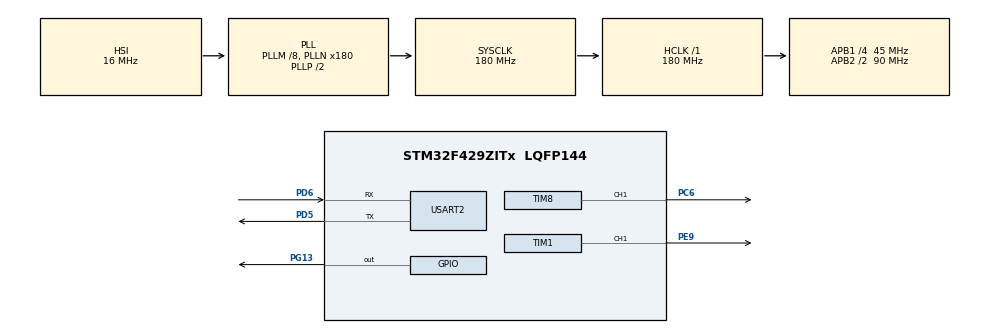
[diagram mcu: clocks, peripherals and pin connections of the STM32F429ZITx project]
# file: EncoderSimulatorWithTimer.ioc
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Dma.Request0=USART2_TX
Dma.Request1=USART2_RX
Dma.USART2_RX.1.Direction=DMA_PERIPH_TO_MEMORY
Dma.USART2_RX.1.FIFOMode=DMA_FIFOMODE_DISABLE
Dma.USART2_RX.1.Instance=DMA1_Stream5
Dma.USART2_RX.1.MemDataAlignment=DMA_MDATAALIGN_BYTE
Dma.USART2_RX.1.MemInc=DMA_MINC_ENABLE
Dma.USART2_RX.1.Mode=DMA_NORMAL
Dma.USART2_RX.1.PeriphDataAlignment=DMA_PDATAALIGN_BYTE
Dma.USART2_RX.1.PeriphInc=DMA_PINC_DISABLE
Dma.USART2_RX.1.Priority=DMA_PRIORITY_HIGH
Dma.USART2_TX.0.Direction=DMA_MEMORY_TO_PERIPH
Dma.USART2_TX.0.FIFOMode=DMA_FIFOMODE_DISABLE
Dma.USART2_TX.0.Instance=DMA1_Stream6
Dma.USART2_TX.0.MemDataAlignment=DMA_MDATAALIGN_BYTE
Dma.USART2_TX.0.MemInc=DMA_MINC_ENABLE
Dma.USART2_TX.0.Mode=DMA_NORMAL
Dma.USART2_TX.0.PeriphDataAlignment=DMA_PDATAALIGN_BYTE
Dma.USART2_TX.0.PeriphInc=DMA_PINC_DISABLE
Dma.USART2_TX.0.Priority=DMA_PRIORITY_HIGH
Mcu.Family=STM32F4
Mcu.Name=STM32F429ZITx
Mcu.Package=LQFP144
NVIC.DMA1_Stream5_IRQn=true\:0\:0\:false\:false\:true\:false\:true\:true
NVIC.DMA1_Stream6_IRQn=true\:0\:0\:false\:false\:true\:false\:true\:true
NVIC.PriorityGroup=NVIC_PRIORITYGROUP_0
NVIC.TIM1_UP_TIM10_IRQn=true\:0\:0\:false\:false\:true\:true\:true\:true
NVIC.TIM6_DAC_IRQn=true\:0\:0\:false\:false\:true\:true\:true\:true
NVIC.TIM8_UP_TIM13_IRQn=true\:0\:0\:false\:false\:true\:true\:true\:true
NVIC.USART2_IRQn=true\:0\:0\:false\:false\:true\:true\:true\:true
PC6.Signal=S_TIM8_CH1
PD5.Mode=Asynchronous
PD5.Signal=USART2_TX
PD6.Mode=Asynchronous
PD6.Signal=USART2_RX
PE9.Signal=S_TIM1_CH1
PG13.Signal=GPIO_Output
ProjectManager.HeapSize=0x200
ProjectManager.StackSize=0x400
ProjectManager.TargetToolchain=STM32CubeIDE
RCC.48MHZClocksFreq_Value=51428571.428571425
RCC.AHBFreq_Value=180000000
RCC.APB1CLKDivider=RCC_HCLK_DIV4
RCC.APB1Freq_Value=45000000
RCC.APB1TimFreq_Value=90000000
RCC.APB2CLKDivider=RCC_HCLK_DIV2
RCC.APB2Freq_Value=90000000
RCC.APB2TimFreq_Value=180000000
RCC.CortexFreq_Value=180000000
RCC.HCLKFreq_Value=180000000
RCC.HSE_VALUE=8000000
RCC.HSI_VALUE=16000000
RCC.LSE_VALUE=32768
RCC.PLLM=8
RCC.PLLN=180
RCC.PLLQ=7
RCC.SYSCLKFreq_VALUE=180000000
RCC.SYSCLKSource=RCC_SYSCLKSOURCE_PLLCLK
RCC.VCOOutputFreq_Value=360000000
SH.S_TIM1_CH1.0=TIM1_CH1,PWM Generation1 CH1
SH.S_TIM8_CH1.0=TIM8_CH1,PWM Generation1 CH1
TIM1.AutoReloadPreload=TIM_AUTORELOAD_PRELOAD_ENABLE
TIM1.Channel-PWM\ Generation1\ CH1=TIM_CHANNEL_1
TIM1.Period=999
TIM1.Prescaler=179
TIM1.Pulse-PWM\ Generation1\ CH1=500
TIM1.TIM_MasterOutputTrigger=TIM_TRGO_UPDATE
TIM1.TIM_MasterSlaveMode=TIM_MASTERSLAVEMODE_ENABLE
TIM6.AutoReloadPreload=TIM_AUTORELOAD_PRELOAD_DISABLE
TIM6.Period=999
TIM6.Prescaler=8999
TIM8.AutoReloadPreload=TIM_AUTORELOAD_PRELOAD_DISABLE
TIM8.Channel-PWM\ Generation1\ CH1=TIM_CHANNEL_1
TIM8.Period=999
TIM8.Prescaler=179
TIM8.Pulse-PWM\ Generation1\ CH1=500
TIM8.TIM_MasterOutputTrigger=TIM_TRGO_UPDATE
TIM8.TIM_MasterSlaveMode=TIM_MASTERSLAVEMODE_ENABLE
USART2.VirtualMode=VM_ASYNC
VP_TIM1_VS_ClockSourceINT.Mode=Internal
VP_TIM6_VS_ClockSourceINT.Mode=Enable_Timer
VP_TIM8_VS_ClockSourceINT.Mode=Internal
VP_TIM8_VS_ClockSourceITR.Mode=TriggerSource_ITR0
VP_TIM8_VS_ControllerModeTrigger.Mode=Trigger Mode
board=STM32F429I-DISC1

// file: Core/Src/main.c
/* USER CODE BEGIN Header */
/**
 ******************************************************************************
 * @file           : main.c
 * @brief          : Main program body
 ******************************************************************************
 * @attention
 *
 * Copyright (c) 2025 STMicroelectronics.
 * All rights reserved.
 *
 * This software is licensed under terms that can be found in the LICENSE file
 * in the root directory of this software component.
 * If no LICENSE file comes with this software, it is provided AS-IS.
 *
 ******************************************************************************
 */
/* USER CODE END Header */
#include "main.h"

/* USER CODE BEGIN Includes */
#include "uart_protocol.h"
#include "rx_processor.h"
#include "stdbool.h"
#include "transmit.h"
#include "math.h"
/* USER CODE END Includes */

/* USER CODE BEGIN PD */
#define ENCODER_PHASE_DIV 4
#define RX_BUFFER_SIZE    128
/* USER CODE END PD */

/* USER CODE BEGIN PM */
uint32_t counter = 0;
uint32_t lastCounter = 0;
uint8_t  rxBuffer[RX_BUFFER_SIZE];
uint8_t  resolution = 0;
int32_t  depth = 0;
int32_t  lastDepth = 0;
uint8_t  direction;
uint8_t  depthSendFlag = 1;
uint16_t speed;
uint8_t msg;
/* USER CODE END PM */

TIM_HandleTypeDef htim1;
TIM_HandleTypeDef htim6;
TIM_HandleTypeDef htim8;

UART_HandleTypeDef huart2;
DMA_HandleTypeDef hdma_usart2_tx;
DMA_HandleTypeDef hdma_usart2_rx;

void SystemClock_Config(void);
static void MX_GPIO_Init(void);
static void MX_DMA_Init(void);
static void MX_TIM1_Init(void);
static void MX_TIM8_Init(void);
static void MX_USART2_UART_Init(void);
static void MX_TIM6_Init(void);
/* USER CODE BEGIN PFP */

void calculateDepthValue()
{
	counter++;
	if(direction == encoderDirectionDown)
	{
		if(lastCounter > 0)
		{
			lastCounter --;
			depth = (int32_t)(((float)(lastCounter) / resolution) * 100);
			counter = 0;
		}
		else
			depth = (int32_t)(((float)(counter) / resolution) * -100);
	}
	else if(direction == encoderDirectionUp)
	{
		if(lastCounter > 0)
		{
			lastCounter --;
			depth = (int32_t)(((float)(lastCounter) / resolution) * -100);
			counter = 0;
		}
		else
			depth = (int32_t)(((float)(counter) / resolution) * 100);
	}
	else
		return;
}

void calculateSpeedValue()
{
	speed = (uint16_t)(fabsf(depth - lastDepth) * 10.0f); // ft/min  100ms = 10.0f ve min = 60.0f
	lastDepth = depth;
    sendEncoderDepth(depth, speed);
}

/* USER CODE END PFP */

/* USER CODE BEGIN 0 */
void HAL_TIM_PeriodElapsedCallback(TIM_HandleTypeDef *htim)
{
	if(htim->Instance == TIM1 || htim->Instance == TIM8)
		calculateDepthValue();

	else if(htim->Instance == TIM6)
		calculateSpeedValue();

}

void processPacket()
{
	if(resPackFlag.resEncoderConfigFlag)
	{
		resPackFlag.resEncoderConfigFlag = 0;
		if(encoderDirectionUp == Uart.ResPackEncoderConfig.direction)
		{
			if(direction != encoderDirectionUp)
			{
			__HAL_TIM_SET_COUNTER(&htim1, htim1.Instance->ARR - (htim1.Instance->ARR / ENCODER_PHASE_DIV ));
			__HAL_TIM_SET_COUNTER(&htim8, htim8.Instance->ARR);
			direction = encoderDirectionUp;
			lastCounter  = counter;
			counter = 0;
			}
		}
		else if(encoderDirectionDown == Uart.ResPackEncoderConfig.direction)
		{
			if(direction != encoderDirectionDown)
			{
			__HAL_TIM_SET_COUNTER(&htim8, htim8.Instance->ARR - (htim8.Instance->ARR / ENCODER_PHASE_DIV));
			__HAL_TIM_SET_COUNTER(&htim1, htim1.Instance->ARR);
			direction = encoderDirectionDown;
			lastCounter  = counter;
			counter = 0;
			}
		}
		else
			return;

		htim1.Instance->PSC =  Uart.ResPackEncoderConfig.encoderSpeed;
		htim8.Instance->PSC =  Uart.ResPackEncoderConfig.encoderSpeed;
		resolution = Uart.ResPackEncoderConfig.resolution;
		sendDebugMsg((uint8_t*)"Config saved");
	}

	if(resPackFlag.resEncoderStatusFlag)
	{
		resPackFlag.resEncoderStatusFlag = 0;
		if(Uart.ResPackEncoderStatus.encoderStatus == encoderStatusStart)
		{
			if(direction == encoderDirectionUp)
			{
				HAL_TIM_Base_Stop_IT(&htim1);
				HAL_TIM_Base_Start_IT(&htim8);
				sendDebugMsg((uint8_t*)"Encoder Up started");
			}
			else if(direction == encoderDirectionDown)
			{
				HAL_TIM_Base_Start_IT(&htim1);
				HAL_TIM_Base_Stop_IT(&htim8);
				sendDebugMsg((uint8_t*)"Encoder Down started");
			}
			else
				return;

			HAL_TIM_PWM_Start_IT(&htim1, TIM_CHANNEL_1);
			HAL_TIM_PWM_Start_IT(&htim8, TIM_CHANNEL_1);
			__HAL_TIM_SET_COUNTER(&htim6, 0);
		    HAL_TIM_Base_Start_IT(&htim6);
		}
		else if(Uart.ResPackEncoderStatus.encoderStatus == encoderStatusStop )
		{
			HAL_TIM_Base_Stop_IT(&htim1);
			HAL_TIM_PWM_Stop_IT(&htim1, TIM_CHANNEL_1);
			HAL_TIM_Base_Stop_IT(&htim8);
			HAL_TIM_PWM_Stop_IT(&htim8, TIM_CHANNEL_1);
		    HAL_TIM_Base_Stop_IT(&htim6);
		    sendEncoderDepth(depth, speed);
		    sendDebugMsg((uint8_t*)"Encoder stopped");
		}
		else
			return;
	}
	if(resPackFlag.resEncoderDepthFlag)
	{
		resPackFlag.resEncoderDepthFlag = 0;
		depth = Uart.ResPackEncoderDepth.depth;
		sendEncoderDepth(depth,0);
		counter = 0;
		lastCounter = 0;
		sendDebugMsg((uint8_t*)"Encoder is reset");
	}
}
/* USER CODE END 0 */

int main(void)
{

  /* MCU Configuration--------------------------------------------------------*/

  /* Reset of all peripherals, Initializes the Flash interface and the Systick. */
  HAL_Init();

  /* Configure the system clock */
  SystemClock_Config();

  /* Initialize all configured peripherals */
  MX_GPIO_Init();
  MX_DMA_Init();
  MX_TIM1_Init();
  MX_TIM8_Init();
  MX_USART2_UART_Init();
  MX_TIM6_Init();
  /* USER CODE BEGIN 2 */
    HAL_UARTEx_ReceiveToIdle_DMA(&huart2, rxBuffer, RX_BUFFER_SIZE);
   __HAL_DMA_DISABLE_IT(&hdma_usart2_rx, DMA_IT_HT); // HALF it disable
  /* USER CODE END 2 */

  /* Infinite loop */
  /* USER CODE BEGIN WHILE */
	while (1)
	{
		processPacket();
    /* USER CODE END WHILE */

	}
}

void SystemClock_Config(void)
{
  RCC_OscInitTypeDef RCC_OscInitStruct = {0};
  RCC_ClkInitTypeDef RCC_ClkInitStruct = {0};

  /** Configure the main internal regulator output voltage
  */
  __HAL_RCC_PWR_CLK_ENABLE();
  __HAL_PWR_VOLTAGESCALING_CONFIG(PWR_REGULATOR_VOLTAGE_SCALE1);

  /** Initializes the RCC Oscillators according to the specified parameters
  * in the RCC_OscInitTypeDef structure.
  */
  RCC_OscInitStruct.OscillatorType = RCC_OSCILLATORTYPE_HSI;
  RCC_OscInitStruct.HSIState = RCC_HSI_ON;
  RCC_OscInitStruct.HSICalibrationValue = RCC_HSICALIBRATION_DEFAULT;
  RCC_OscInitStruct.PLL.PLLState = RCC_PLL_ON;
  RCC_OscInitStruct.PLL.PLLSource = RCC_PLLSOURCE_HSI;
  RCC_OscInitStruct.PLL.PLLM = 8;
  RCC_OscInitStruct.PLL.PLLN = 180;
  RCC_OscInitStruct.PLL.PLLP = RCC_PLLP_DIV2;
  RCC_OscInitStruct.PLL.PLLQ = 7;
  if (HAL_RCC_OscConfig(&RCC_OscInitStruct) != HAL_OK)
  {
    Error_Handler();
  }

  /** Activate the Over-Drive mode
  */
  if (HAL_PWREx_EnableOverDrive() != HAL_OK)
  {
    Error_Handler();
  }

  /** Initializes the CPU, AHB and APB buses clocks
  */
  RCC_ClkInitStruct.ClockType = RCC_CLOCKTYPE_HCLK|RCC_CLOCKTYPE_SYSCLK
                              |RCC_CLOCKTYPE_PCLK1|RCC_CLOCKTYPE_PCLK2;
  RCC_ClkInitStruct.SYSCLKSource = RCC_SYSCLKSOURCE_PLLCLK;
  RCC_ClkInitStruct.AHBCLKDivider = RCC_SYSCLK_DIV1;
  RCC_ClkInitStruct.APB1CLKDivider = RCC_HCLK_DIV4;
  RCC_ClkInitStruct.APB2CLKDivider = RCC_HCLK_DIV2;

  if (HAL_RCC_ClockConfig(&RCC_ClkInitStruct, FLASH_LATENCY_5) != HAL_OK)
  {
    Error_Handler();
  }
}

static void MX_TIM1_Init(void)
{

  TIM_ClockConfigTypeDef sClockSourceConfig = {0};
  TIM_MasterConfigTypeDef sMasterConfig = {0};
  TIM_OC_InitTypeDef sConfigOC = {0};
  TIM_BreakDeadTimeConfigTypeDef sBreakDeadTimeConfig = {0};

  htim1.Instance = TIM1;
  htim1.Init.Prescaler = 179;
  htim1.Init.CounterMode = TIM_COUNTERMODE_UP;
  htim1.Init.Period = 999;
  htim1.Init.ClockDivision = TIM_CLOCKDIVISION_DIV1;
  htim1.Init.RepetitionCounter = 0;
  htim1.Init.AutoReloadPreload = TIM_AUTORELOAD_PRELOAD_ENABLE;
  if (HAL_TIM_Base_Init(&htim1) != HAL_OK)
  {
    Error_Handler();
  }
  sClockSourceConfig.ClockSource = TIM_CLOCKSOURCE_INTERNAL;
  if (HAL_TIM_ConfigClockSource(&htim1, &sClockSourceConfig) != HAL_OK)
  {
    Error_Handler();
  }
  if (HAL_TIM_PWM_Init(&htim1) != HAL_OK)
  {
    Error_Handler();
  }
  sMasterConfig.MasterOutputTrigger = TIM_TRGO_UPDATE;
  sMasterConfig.MasterSlaveMode = TIM_MASTERSLAVEMODE_ENABLE;
  if (HAL_TIMEx_MasterConfigSynchronization(&htim1, &sMasterConfig) != HAL_OK)
  {
    Error_Handler();
  }
  sConfigOC.OCMode = TIM_OCMODE_PWM1;
  sConfigOC.Pulse = 500;
  sConfigOC.OCPolarity = TIM_OCPOLARITY_HIGH;
  sConfigOC.OCNPolarity = TIM_OCNPOLARITY_HIGH;
  sConfigOC.OCFastMode = TIM_OCFAST_DISABLE;
  sConfigOC.OCIdleState = TIM_OCIDLESTATE_RESET;
  sConfigOC.OCNIdleState = TIM_OCNIDLESTATE_RESET;
  if (HAL_TIM_PWM_ConfigChannel(&htim1, &sConfigOC, TIM_CHANNEL_1) != HAL_OK)
  {
    Error_Handler();
  }
  sBreakDeadTimeConfig.OffStateRunMode = TIM_OSSR_DISABLE;
  sBreakDeadTimeConfig.OffStateIDLEMode = TIM_OSSI_DISABLE;
  sBreakDeadTimeConfig.LockLevel = TIM_LOCKLEVEL_OFF;
  sBreakDeadTimeConfig.DeadTime = 0;
  sBreakDeadTimeConfig.BreakState = TIM_BREAK_DISABLE;
  sBreakDeadTimeConfig.BreakPolarity = TIM_BREAKPOLARITY_HIGH;
  sBreakDeadTimeConfig.AutomaticOutput = TIM_AUTOMATICOUTPUT_DISABLE;
  if (HAL_TIMEx_ConfigBreakDeadTime(&htim1, &sBreakDeadTimeConfig) != HAL_OK)
  {
    Error_Handler();
  }
  HAL_TIM_MspPostInit(&htim1);

}

static void MX_TIM6_Init(void)
{

  TIM_MasterConfigTypeDef sMasterConfig = {0};

  htim6.Instance = TIM6;
  htim6.Init.Prescaler = 8999;
  htim6.Init.CounterMode = TIM_COUNTERMODE_UP;
  htim6.Init.Period = 999;
  htim6.Init.AutoReloadPreload = TIM_AUTORELOAD_PRELOAD_DISABLE;
  if (HAL_TIM_Base_Init(&htim6) != HAL_OK)
  {
    Error_Handler();
  }
  sMasterConfig.MasterOutputTrigger = TIM_TRGO_RESET;
  sMasterConfig.MasterSlaveMode = TIM_MASTERSLAVEMODE_DISABLE;
  if (HAL_TIMEx_MasterConfigSynchronization(&htim6, &sMasterConfig) != HAL_OK)
  {
    Error_Handler();
  }

}

static void MX_TIM8_Init(void)
{

  TIM_ClockConfigTypeDef sClockSourceConfig = {0};
  TIM_SlaveConfigTypeDef sSlaveConfig = {0};
  TIM_MasterConfigTypeDef sMasterConfig = {0};
  TIM_OC_InitTypeDef sConfigOC = {0};
  TIM_BreakDeadTimeConfigTypeDef sBreakDeadTimeConfig = {0};

  htim8.Instance = TIM8;
  htim8.Init.Prescaler = 179;
  htim8.Init.CounterMode = TIM_COUNTERMODE_UP;
  htim8.Init.Period = 999;
  htim8.Init.ClockDivision = TIM_CLOCKDIVISION_DIV1;
  htim8.Init.RepetitionCounter = 0;
  htim8.Init.AutoReloadPreload = TIM_AUTORELOAD_PRELOAD_DISABLE;
  if (HAL_TIM_Base_Init(&htim8) != HAL_OK)
  {
    Error_Handler();
  }
  sClockSourceConfig.ClockSource = TIM_CLOCKSOURCE_INTERNAL;
  if (HAL_TIM_ConfigClockSource(&htim8, &sClockSourceConfig) != HAL_OK)
  {
    Error_Handler();
  }
  if (HAL_TIM_PWM_Init(&htim8) != HAL_OK)
  {
    Error_Handler();
  }
  sSlaveConfig.SlaveMode = TIM_SLAVEMODE_TRIGGER;
  sSlaveConfig.InputTrigger = TIM_TS_ITR0;
  if (HAL_TIM_SlaveConfigSynchro(&htim8, &sSlaveConfig) != HAL_OK)
  {
    Error_Handler();
  }
  sMasterConfig.MasterOutputTrigger = TIM_TRGO_UPDATE;
  sMasterConfig.MasterSlaveMode = TIM_MASTERSLAVEMODE_ENABLE;
  if (HAL_TIMEx_MasterConfigSynchronization(&htim8, &sMasterConfig) != HAL_OK)
  {
    Error_Handler();
  }
  sConfigOC.OCMode = TIM_OCMODE_PWM1;
  sConfigOC.Pulse = 500;
  sConfigOC.OCPolarity = TIM_OCPOLARITY_HIGH;
  sConfigOC.OCNPolarity = TIM_OCNPOLARITY_HIGH;
  sConfigOC.OCFastMode = TIM_OCFAST_DISABLE;
  sConfigOC.OCIdleState = TIM_OCIDLESTATE_RESET;
  sConfigOC.OCNIdleState = TIM_OCNIDLESTATE_RESET;
  if (HAL_TIM_PWM_ConfigChannel(&htim8, &sConfigOC, TIM_CHANNEL_1) != HAL_OK)
  {
    Error_Handler();
  }
  sBreakDeadTimeConfig.OffStateRunMode = TIM_OSSR_DISABLE;
  sBreakDeadTimeConfig.OffStateIDLEMode = TIM_OSSI_DISABLE;
  sBreakDeadTimeConfig.LockLevel = TIM_LOCKLEVEL_OFF;
  sBreakDeadTimeConfig.DeadTime = 0;
  sBreakDeadTimeConfig.BreakState = TIM_BREAK_DISABLE;
  sBreakDeadTimeConfig.BreakPolarity = TIM_BREAKPOLARITY_HIGH;
  sBreakDeadTimeConfig.AutomaticOutput = TIM_AUTOMATICOUTPUT_DISABLE;
  if (HAL_TIMEx_ConfigBreakDeadTime(&htim8, &sBreakDeadTimeConfig) != HAL_OK)
  {
    Error_Handler();
  }
  HAL_TIM_MspPostInit(&htim8);

}

static void MX_USART2_UART_Init(void)
{

  huart2.Instance = USART2;
  huart2.Init.BaudRate = 115200;
  huart2.Init.WordLength = UART_WORDLENGTH_8B;
  huart2.Init.StopBits = UART_STOPBITS_1;
  huart2.Init.Parity = UART_PARITY_NONE;
  huart2.Init.Mode = UART_MODE_TX_RX;
  huart2.Init.HwFlowCtl = UART_HWCONTROL_NONE;
  huart2.Init.OverSampling = UART_OVERSAMPLING_16;
  if (HAL_UART_Init(&huart2) != HAL_OK)
  {
    Error_Handler();
  }

}

static void MX_DMA_Init(void)
{

  /* DMA controller clock enable */
  __HAL_RCC_DMA1_CLK_ENABLE();

  /* DMA interrupt init */
  /* DMA1_Stream5_IRQn interrupt configuration */
  HAL_NVIC_SetPriority(DMA1_Stream5_IRQn, 0, 0);
  HAL_NVIC_EnableIRQ(DMA1_Stream5_IRQn);
  /* DMA1_Stream6_IRQn interrupt configuration */
  HAL_NVIC_SetPriority(DMA1_Stream6_IRQn, 0, 0);
  HAL_NVIC_EnableIRQ(DMA1_Stream6_IRQn);

}

static void MX_GPIO_Init(void)
{
  GPIO_InitTypeDef GPIO_InitStruct = {0};

  /* GPIO Ports Clock Enable */
  __HAL_RCC_GPIOE_CLK_ENABLE();
  __HAL_RCC_GPIOC_CLK_ENABLE();
  __HAL_RCC_GPIOD_CLK_ENABLE();
  __HAL_RCC_GPIOG_CLK_ENABLE();

  /*Configure GPIO pin Output Level */
  HAL_GPIO_WritePin(GPIOG, GPIO_PIN_13, GPIO_PIN_RESET);

  /*Configure GPIO pin : PG13 */
  GPIO_InitStruct.Pin = GPIO_PIN_13;
  GPIO_InitStruct.Mode = GPIO_MODE_OUTPUT_PP;
  GPIO_InitStruct.Pull = GPIO_NOPULL;
  GPIO_InitStruct.Speed = GPIO_SPEED_FREQ_LOW;
  HAL_GPIO_Init(GPIOG, &GPIO_InitStruct);

}

void Error_Handler(void)
{
	__disable_irq();
	while (1)
	{
	}
}
